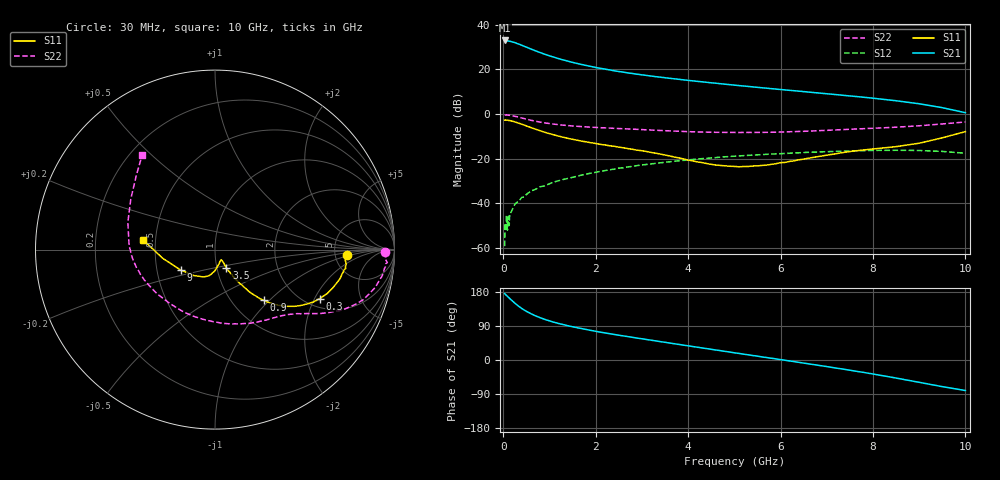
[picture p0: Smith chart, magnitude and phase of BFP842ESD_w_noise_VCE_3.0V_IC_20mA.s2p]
! Infineon Technologies  Discrete & RF Semiconductors
! BFP842ESD
! VCE =  3.0 V,  IC =  20 mA
! Common Emitter S-Parameters:  May 2012
# GHz  S  MA  R  50
!  f  S11  S21  S12  S22
! GHz  MAG  ANG  MAG  ANG  MAG  ANG  MAG  ANG
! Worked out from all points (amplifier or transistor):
!   99 points, 30 MHz to 10 GHz, reference 50 ohm
!   highest |S21| = 33.0 dB at 30 MHz (marker M1)
!   |S21| within 3 dB of that: start of sweep to 502.8 MHz
!   unconditionally stable (mu >= 1): start of sweep to 31.66 MHz; 2.289 GHz to end of sweep
!   at 350 MHz: K = 0.53, MSG = 35.0 dB, |S12| = -38.7 dB
!   at 3.5 GHz: K = 1.05, MAG = 17.5 dB, |S12| = -21.6 dB
!   at 10 GHz: K = 1.70, MAG = 4.2 dB, |S12| = -17.5 dB
!   lowest NFmin = 0.81 dB at 450 MHz
!   S11 on the Smith chart (normalised r, x): 30 MHz: 6.45, -0.91; 300 MHz: 2.37, -2.21; 900 MHz: 1.39, -0.92; 3.5 GHz: 1.11, -0.23; 9 GHz: 0.66, -0.16; 10 GHz: 0.42, +0.06
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0.03  0.7363 -2.5  44.63 175.4  0.0011 0.8  0.9499 -0.9
0.05  0.7267 -4.4  43.98 172.6  0.0026 -30.9  0.9485 -2.8
0.06  0.7321 -5.5  44.53 171.5  0.0024 45.9  0.9547 -3.6
0.09  0.7359 -8.2  43.3 168.4  0.0025 96.8  0.9568 -5.5
0.15  0.7121 -13.7  42.69 161.1  0.0058 66.2  0.9361 -9.9
0.25  0.6712 -21.4  39.99 150.1  0.0095 70.3  0.8932 -16.1
0.3  0.6447 -25.0  38.17 145.1  0.0106 77.9  0.8711 -18.7
0.35  0.6205 -28.1  36.62 140.5  0.0116 67.9  0.845 -20.9
0.45  0.5693 -33.2  33.22 132.2  0.0139 67.4  0.7951 -24.6
0.6  0.4994 -39.2  28.69 122.1  0.0189 68.7  0.7285 -28.7
0.7  0.4588 -42.1  26.14 116.5  0.0207 67.4  0.6919 -30.9
0.9  0.3912 -46.2  21.92 107.2  0.0247 64.3  0.6354 -34.1
1.2  0.3208 -50.0  17.45 96.3  0.0322 62.2  0.5793 -38.0
1.7  0.2475 -52.8  12.89 82.8  0.043 57.5  0.5241 -44.6
2.4  0.19 -55.4  9.355 67.5  0.0583 51.1  0.4799 -55.3
3.4  0.1269 -57.9  6.715 48.5  0.0811 39.9  0.4292 -74.5
3.5  0.121 -58.1  6.524 46.7  0.0833 38.8  0.4249 -76.9
5.1  0.066 -59.3  4.356 17.3  0.1155 16.9  0.3875 -115.9
6.7  0.1068 -86.5  3.054 -11.8  0.1407 -6.6  0.4195 -152.3
8.5  0.1866 -129.0  1.992 -47.6  0.1548 -38.2  0.5091 162.5
9  0.2227 -149.3  1.703 -58.9  0.153 -48.8  0.5472 149.0
10  0.4053 172.2  1.075 -80.6  0.1328 -71.0  0.6668 127.4
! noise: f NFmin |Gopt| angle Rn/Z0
0.45  0.81  0.05  -152  0.09
0.9  0.81  0.07  -145  0.09
1.5  0.82  0.09  -141  0.08
1.9  0.82  0.11  -135  0.08
2.4  0.83  0.13  -132  0.08
3.5  0.88  0.16  -118  0.09
4  0.91  0.17  -115  0.1
5  0.98  0.18  -104  0.11
5.5  1.09  0.19  -101  0.12
6  1.19  0.2  -98  0.13
